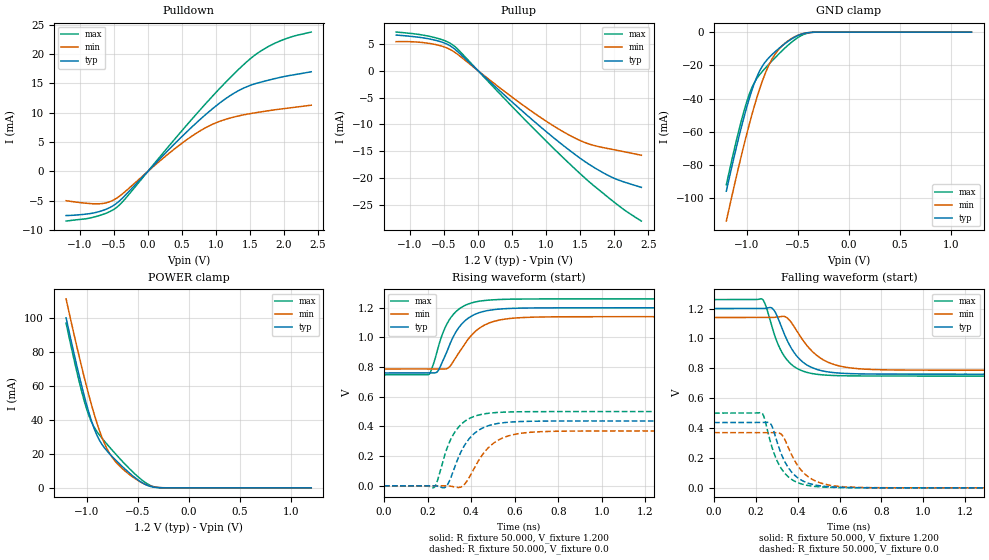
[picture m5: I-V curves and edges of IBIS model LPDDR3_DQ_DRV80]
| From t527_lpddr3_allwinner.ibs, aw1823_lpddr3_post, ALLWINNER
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|   Model LPDDR3_DQ_DRV80
[Model] LPDDR3_DQ_DRV80
Model_type I/O
Polarity   Non-Inverting
Enable   Active-Low
Vinl =  0.600V
Vinh =  0.600V
C_comp   1.929pF   1.880pF   1.999pF
C_comp_pullup   1.191pF   1.184pF   1.212pF
C_comp_pulldown   0.552pF   0.478pF   0.774pF
[Model Spec]
Vinh   0.600V   0.570V   0.630V
Vinl   0.600V   0.570V   0.630V
[Temperature Range]   25.000   0.125k   -40.000
[Voltage Range]   1.200V   1.140V   1.260V
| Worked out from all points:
|   slope of the pulldown table from 0 to 0.18 V, typ, clamps not added: 82.1 ohm
|   slope of the pullup table from 0 to 0.18 V, typ, clamps not added: 85 ohm
|   GND clamp passes 1 mA (typ) near -0.45 V on its own axis
|   POWER clamp passes 1 mA (typ) near -0.38 V on its own axis
|   rising waveform, R_fixture 50.000, V_fixture 1.200: 20-80 % time 99.3ps typ, 119ps min, 86.1ps max; typ from 0.761 V to 1.2 V
|   rising waveform, R_fixture 50.000, V_fixture 0.0: 20-80 % time 97.1ps typ, 113ps min, 87ps max; typ from 0 V to 0.437 V
|   falling waveform, R_fixture 50.000, V_fixture 1.200: 20-80 % time 106ps typ, 134ps min, 91.7ps max; typ from 1.2 V to 0.761 V
|   falling waveform, R_fixture 50.000, V_fixture 0.0: 20-80 % time 91.3ps typ, 103ps min, 83.9ps max; typ from 0.437 V to 0 V
[Pulldown]
|Voltage   I(typ)   I(min)   I(max)
-1.2V     -7.51mA    -4.981mA   -8.443mA
-719mV    -6.853mA   -5.511mA   -7.539mA
-460mV    -5.441mA   -4.57mA    -6.143mA
-312mV    -3.826mA   -3.219mA   -4.385mA
206mV     2.506mA    2.076mA    2.894mA
576mV     6.792mA    5.447mA    7.959mA
872mV     9.926mA    7.601mA    11.84mA
1.168V    12.61mA    8.975mA    15.5mA
1.427V    14.31mA    9.699mA    18.42mA
1.723V    15.42mA    10.27mA    20.98mA
2.019V    16.22mA    10.74mA    22.59mA
2.4V      16.99mA    11.3mA     23.77mA
[Pullup]
|Voltage   I(typ)   I(min)   I(max)
-1.2V     6.592mA    5.37mA     7.153mA
-930mV    6.276mA    5.324mA    6.817mA
-671mV    5.759mA    4.951mA    6.239mA
-486mV    5.085mA    4.353mA    5.541mA
-338mV    3.966mA    3.382mA    4.453mA
661mV     -7.614mA   -6.404mA   -8.74mA
1.031V    -11.62mA   -9.624mA   -13.44mA
1.327V    -14.62mA   -11.88mA   -17.07mA
1.586V    -17.01mA   -13.41mA   -20.1mA
1.882V    -19.25mA   -14.4mA    -23.21mA
2.141V    -20.64mA   -15.04mA   -25.77mA
2.4V      -21.66mA   -15.71mA   -27.91mA
[GND_clamp]
|Voltage   I(typ)   I(min)   I(max)
-1.2V     -95.73mA   -113.7mA   -91.89mA
-1.1V     -68.95mA   -86.51mA   -64.84mA
-1.025V   -50.74mA   -67.37mA   -47.06mA
-950mV    -35.1mA    -49.78mA   -33.48mA
-900mV    -26.83mA   -39.23mA   -27.79mA
-825mV    -18.46mA   -25.81mA   -22.14mA
-750mV    -13.41mA   -15.98mA   -17.2mA
-675mV    -9.342mA   -9.629mA   -12.51mA
-600mV    -5.766mA   -5.48mA    -8.156mA
-475mV    -1.482mA   -1.412mA   -2.402mA
-350mV    -108.6uA   -148.6uA   -181uA
1.2V      0A         0A         0A
[POWER_clamp]
|Voltage   I(typ)   I(min)   I(max)
-1.2V     100.2mA    111.4mA    97.13mA
-1.1V     73.3mA     84.65mA    69.74mA
-1.025V   54.87mA    65.84mA    51.77mA
-975mV    44.01mA    54.17mA    42.28mA
-925mV    34.95mA    43.45mA    35.71mA
-850mV    25.74mA    29.9mA     29.38mA
-775mV    20.11mA    20.35mA    24.04mA
-700mV    15.48mA    14.34mA    18.95mA
-575mV    8.482mA    7.639mA    11.02mA
-425mV    2.019mA    2.056mA    3.164mA
-300mV    129uA      244.9uA    195uA
1.2V      0A         0A         0A
[Ramp]
| variable   typ   min   max
dV/dt_r   0.262/0.100n   0.222/0.114n   0.300/87.083p
dV/dt_f   0.264/0.106n   0.212/0.137n   0.307/91.922p
R_load = 50.000
[Rising Waveform]
R_fixture= 50.000
V_fixture= 1.200
V_fixture_min= 1.140
V_fixture_max= 1.260
|time   V(typ)   V(min)   V(max)
0s        760.7mV    787.3mV    748.1mV
208ps     760.8mV    787.6mV    752.5mV
249ps     775.4mV    787.3mV    934.1mV
277ps     862.3mV    786.8mV    1.054V
308ps     972.9mV    814.2mV    1.136V
369ps     1.108V     951.3mV    1.214V
460ps     1.176V     1.082V     1.249V
561ps     1.194V     1.125V     1.257V
740ps     1.199V     1.138V     1.26V
3ns       1.2V       1.14V      1.26V
[Rising Waveform]
R_fixture= 50.000
V_fixture= 0.0
V_fixture_min= 0.0
V_fixture_max= 0.0
|time   V(typ)   V(min)   V(max)
0s        2.491uV    26.32uV    1.502uV
229ps     71.38uV    89.14uV    -12.3mV
280ps     -11.33mV   113.4uV    212.5mV
318ps     98.23mV    -5.949mV   344.7mV
364ps     257.6mV    1.106mV    426.7mV
418ps     356.8mV    128.2mV    469.7mV
488ps     408.8mV    268.9mV    490.3mV
588ps     430.4mV    342.9mV    498.1mV
759ps     436.3mV    366.7mV    500.2mV
3ns       437mV      369.6mV    500.4mV
[Falling Waveform]
R_fixture= 50.000
V_fixture= 1.200
V_fixture_min= 1.140
V_fixture_max= 1.260
|time   V(typ)   V(min)   V(max)
0s        1.2V       1.14V      1.26V
230ps     1.2V       1.14V      1.263V
248ps     1.202V     1.14V      1.216V
283ps     1.195V     1.14V      1.049V
343ps     1.007V     1.143V     867.1mV
407ps     864.4mV    1.026V     791.7mV
493ps     792mV      884.3mV    759.7mV
605ps     767.4mV    814mV      750.4mV
776ps     761.4mV    791.1mV    748.4mV
3ns       760.7mV    787.3mV    748.1mV
[Falling Waveform]
R_fixture= 50.000
V_fixture= 0.0
V_fixture_min= 0.0
V_fixture_max= 0.0
|time   V(typ)   V(min)   V(max)
0s        437mV      369.6mV    500.4mV
229ps     437mV      369.5mV    500.1mV
243ps     437.7mV    369.5mV    455.4mV
273ps     423.7mV    369.6mV    290.7mV
328ps     205.6mV    348.2mV    115.8mV
360ps     125.4mV    254.1mV    67.82mV
402ps     65.39mV    144.9mV    33.82mV
478ps     20.65mV    50.58mV    9.893mV
725ps     681.9uV    1.889mV    334.2uV
3ns       2.497uV    26.31uV    1.51uV
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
